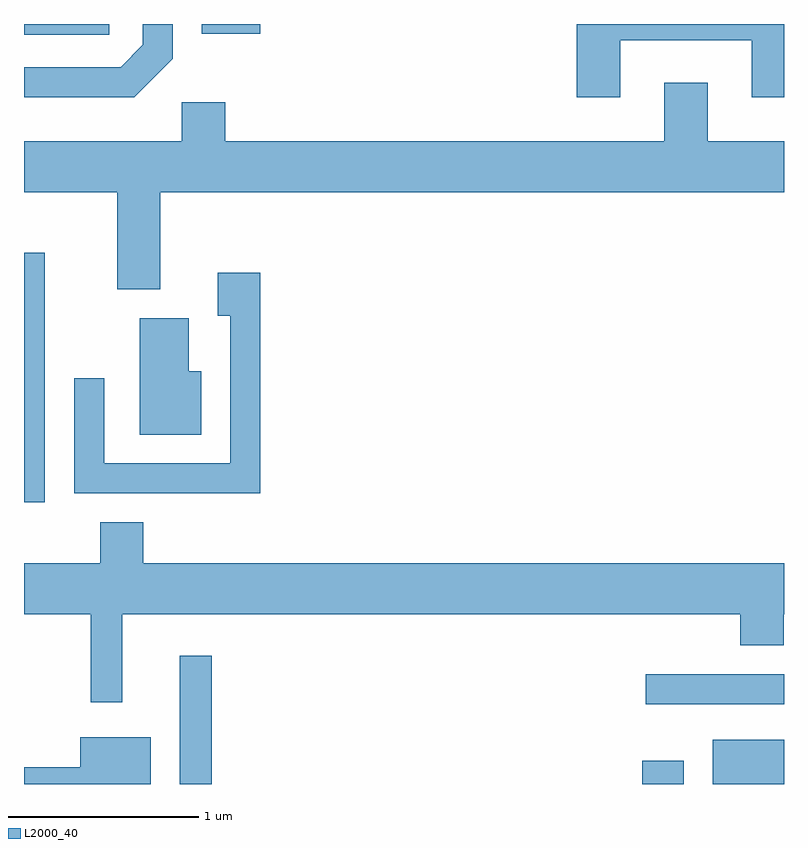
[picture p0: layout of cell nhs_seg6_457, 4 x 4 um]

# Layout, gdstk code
import gdstk
lib = gdstk.Library(unit=1e-6, precision=1e-09)
def R(c, l, rs):  # rectangles x0, y0, x1, y1
    for r in rs: c.add(gdstk.rectangle(r[:2], r[2:], *l))
def P(c, l, *ps):  # polygons
    for p in ps: c.add(gdstk.Polygon(p, *l))
L2000_40 = (2000, 40)

nhs_seg6_457 = lib.new_cell('nhs_seg6_457')
R(nhs_seg6_457, L2000_40, [(198.431,1640.162,198.599,1640.838), (200.866,1640.162,201.084,1640.284), (201.236,1640.162,201.611,1640.394), (200.883,1640.581,201.611,1640.739), (197.611,1641.646,197.719,1642.959), (197.611,1644.106,198.059,1644.162), (198.546,1644.111,198.854,1644.162)])
P(nhs_seg6_457, L2000_40, [(198.394,1643.979),(198.394,1644.162),(198.236,1644.162),(198.236,1644.052),(198.119,1643.934),(197.611,1643.934),(197.611,1643.776),(198.192,1643.776)],
  [(200.749,1644.076),(201.441,1644.076),(201.441,1643.776),(201.611,1643.776),(201.611,1644.162),(200.521,1644.162),(200.521,1643.776),(200.749,1643.776)],
  [(198.329,1643.276),(201.611,1643.276),(201.611,1643.544),(201.209,1643.544),(201.209,1643.854),(200.981,1643.854),(200.981,1643.544),(198.669,1643.544),(198.669,1643.749),(198.441,1643.749),(198.441,1643.544),(197.611,1643.544),(197.611,1643.276),(198.101,1643.276),(198.101,1642.766),(198.329,1642.766)],
  [(198.854,1642.854),(198.631,1642.854),(198.631,1642.626),(198.696,1642.626),(198.696,1641.849),(198.034,1641.849),(198.034,1642.298),(197.876,1642.298),(197.876,1641.691),(198.854,1641.691)],
  [(198.544,1642.334),(198.479,1642.334),(198.479,1642.614),(198.221,1642.614),(198.221,1642.001),(198.544,1642.001)],
  [(198.129,1641.056),(201.381,1641.056),(201.381,1640.891),(201.609,1640.891),(201.609,1641.056),(201.611,1641.056),(201.611,1641.324),(198.239,1641.324),(198.239,1641.539),(198.011,1641.539),(198.011,1641.324),(197.611,1641.324),(197.611,1641.056),(197.961,1641.056),(197.961,1640.593),(198.129,1640.593)],
  [(198.279,1640.409),(197.906,1640.409),(197.906,1640.249),(197.611,1640.249),(197.611,1640.162),(198.279,1640.162)])

lib.write_gds('nhs_seg6_457.gds')
